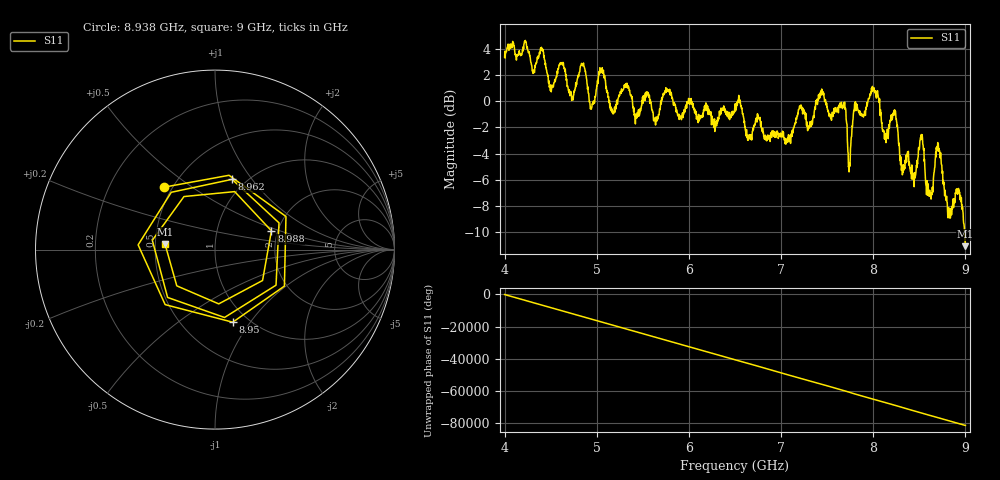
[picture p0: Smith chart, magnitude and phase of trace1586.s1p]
! Created with skrf 1.8.0 (http://scikit-rf.org).
# Hz S RI R 50.0
!freq ReS11 ImS11
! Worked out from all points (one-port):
!   1601 points, 4 GHz to 9 GHz, reference 50 ohm
!   lowest |S11| = -11.1 dB at 9 GHz (marker M1), VSWR 1.78, Z = 28.2 + j1.88 ohm
!   |S11| at or under -10 dB: 8.99095 GHz to end of sweep
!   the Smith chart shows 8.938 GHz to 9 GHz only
!   S11 on the Smith chart (normalised r, x): 8.938 GHz: 0.45, +0.39; 8.95 GHz: 0.85, -0.83; 8.962 GHz: 0.86, +0.81; 8.988 GHz: 1.85, +0.44; 9 GHz: 0.56, +0.04
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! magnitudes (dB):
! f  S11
! 4 GHz  3.4
! 4.403 GHz  3.9
! 4.509 GHz  0.9
! 4.625 GHz  2.9
! 4.725 GHz  0.5
! 4.844 GHz  2.8
! 4.941 GHz  -0.6
! 5.05 GHz  2.3
! 5.166 GHz  -0.6
! 5.25 GHz  0.4
! 5.875 GHz  -1.0
! 6.5 GHz  -0.4
! 7.125 GHz  -2.4
! 7.441 GHz  0.9
! 7.678 GHz  -0.4
! 7.75 GHz  -4.5
! 7.803 GHz  -0.2
! 8 GHz  0.9
! 8.375 GHz  -3.9
! 8.525 GHz  -2.9
! 8.622 GHz  -7.2
! 8.709 GHz  -3.8
! 8.828 GHz  -8.9
! 8.938 GHz  -6.9
! 8.95 GHz  -7.6
! 8.962 GHz  -7.9
! 8.988 GHz  -9.6
! 9 GHz  -11.1
